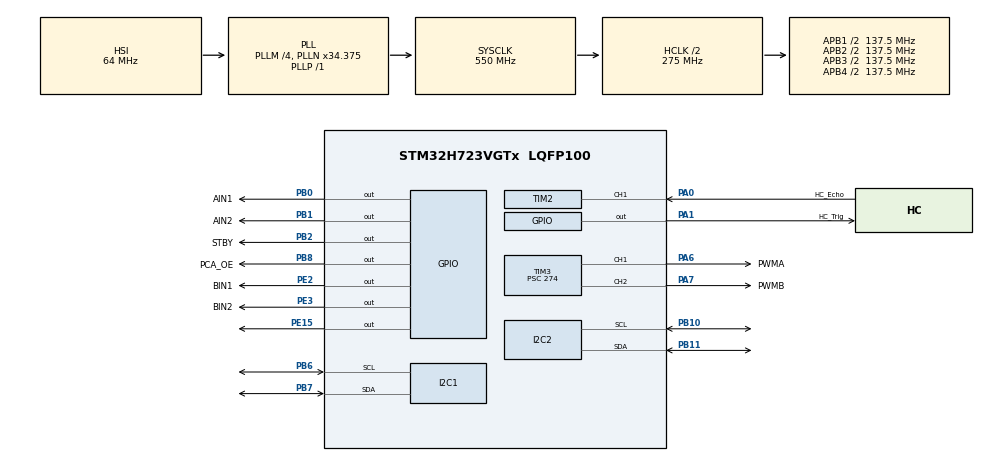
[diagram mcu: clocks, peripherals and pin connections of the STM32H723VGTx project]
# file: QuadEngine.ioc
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CORTEX_M7.default_mode_Activation=1
I2C1.Timing=0x60404E72
I2C2.Timing=0x60404E72
Mcu.Family=STM32H7
Mcu.Name=STM32H723VGTx
Mcu.Package=LQFP100
NVIC.PriorityGroup=NVIC_PRIORITYGROUP_4
PA0.GPIO_Label=HC_Echo
PA0.Signal=S_TIM2_CH1_ETR
PA1.GPIO_Label=HC_Trig
PA1.Signal=GPIO_Output
PA13(JTMS/SWDIO).Mode=Serial_Wire
PA13(JTMS/SWDIO).Signal=DEBUG_JTMS-SWDIO
PA14(JTCK/SWCLK).Mode=Serial_Wire
PA14(JTCK/SWCLK).Signal=DEBUG_JTCK-SWCLK
PA6.GPIO_Label=PWMA
PA6.Signal=S_TIM3_CH1
PA7.GPIO_Label=PWMB
PA7.Signal=S_TIM3_CH2
PB0.GPIO_Label=AIN1
PB0.Signal=GPIO_Output
PB1.GPIO_Label=AIN2
PB1.Signal=GPIO_Output
PB10.Mode=I2C
PB10.Signal=I2C2_SCL
PB11.Mode=I2C
PB11.Signal=I2C2_SDA
PB2.GPIO_Label=STBY
PB2.Signal=GPIO_Output
PB6.Mode=I2C
PB6.Signal=I2C1_SCL
PB7.Mode=I2C
PB7.Signal=I2C1_SDA
PB8.GPIO_Label=PCA_OE
PB8.PinState=GPIO_PIN_SET
PB8.Signal=GPIO_Output
PE15.Signal=GPIO_Output
PE2.GPIO_Label=BIN1
PE2.Signal=GPIO_Output
PE3.GPIO_Label=BIN2
PE3.Signal=GPIO_Output
PH0-OSC_IN.Mode=HSE-External-Oscillator
PH0-OSC_IN.Signal=RCC_OSC_IN
PH1-OSC_OUT.Mode=HSE-External-Oscillator
PH1-OSC_OUT.Signal=RCC_OSC_OUT
ProjectManager.HeapSize=0x200
ProjectManager.StackSize=0x400
ProjectManager.TargetToolchain=CMake
RCC.ADCFreq_Value=129000000
RCC.APB1Freq_Value=137500000
RCC.APB2Freq_Value=137500000
RCC.APB3Freq_Value=137500000
RCC.APB4Freq_Value=137500000
RCC.CortexFreq_Value=550000000
RCC.D1PPRE=RCC_APB3_DIV2
RCC.D2PPRE1=RCC_APB1_DIV2
RCC.D2PPRE2=RCC_APB2_DIV2
RCC.D3PPRE=RCC_APB4_DIV2
RCC.DIVM1=4
RCC.DIVN1=34
RCC.DIVP1=1
RCC.HCLKFreq_Value=275000000
RCC.HPRE=RCC_HCLK_DIV2
RCC.PLL2FRACN=0
RCC.PLL3FRACN=0
RCC.PLLFRACN=3072
RCC.SYSCLKFreq_VALUE=550000000
RCC.SYSCLKSource=RCC_SYSCLKSOURCE_PLLCLK
RCC.USBFreq_Value=275000000
SH.S_TIM2_CH1_ETR.0=TIM2_CH1,Input_Capture1_from_TI1
SH.S_TIM2_CH1_ETR.1=TIM2_CH1,TriggerSource_TI1FP1
SH.S_TIM3_CH1.0=TIM3_CH1,PWM Generation1 CH1
SH.S_TIM3_CH2.0=TIM3_CH2,PWM Generation2 CH2
TIM2.Channel-Input_Capture1_from_TI1=TIM_CHANNEL_1
TIM2.ICPolarity_CH1=TIM_INPUTCHANNELPOLARITY_BOTHEDGE
TIM2.Prescaler=274
TIM3.AutoReloadPreload=TIM_AUTORELOAD_PRELOAD_ENABLE
TIM3.Channel-PWM\ Generation1\ CH1=TIM_CHANNEL_1
TIM3.Channel-PWM\ Generation2\ CH2=TIM_CHANNEL_2
TIM3.OCMode_PWM-PWM\ Generation2\ CH2=TIM_OCMODE_PWM2
TIM3.Period=99
TIM3.Prescaler=274
TIM3.Pulse-PWM\ Generation1\ CH1=30
TIM3.Pulse-PWM\ Generation2\ CH2=30
VP_MEMORYMAP_VS_MEMORYMAP.Mode=CurAppReg
VP_TIM2_VS_ControllerModeReset.Mode=Reset Mode
board=custom

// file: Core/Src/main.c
/* USER CODE BEGIN Header */
/**
  ******************************************************************************
  * @file           : main.c
  * @brief          : Main program body
  ******************************************************************************
  * @attention
  *
  * Copyright (c) 2026 STMicroelectronics.
  * All rights reserved.
  *
  * This software is licensed under terms that can be found in the LICENSE file
  * in the root directory of this software component.
  * If no LICENSE file comes with this software, it is provided AS-IS.
  *
  ******************************************************************************
  */
/* USER CODE END Header */
#include "main.h"

/* USER CODE BEGIN PTD */
typedef struct
{
  uint8_t chanel;
  uint16_t phase;
  uint8_t is_moving;

  uint16_t max_steps;
  uint16_t min_steps;

  uint16_t current_steps;
  uint32_t last_move_time;
  uint8_t is_inverted;
  uint16_t trim;
} ServoTypeDef;
/* USER CODE END PTD */

/* USER CODE BEGIN PD */
#define PCA9685_ADDR 0x40
#define MODE1_ADDR 0x00
#define MODE2_ADDR 0x01
#define PRESCL_ADDR 0xFE
#define SERVO_MAX 512
#define SERVO_MIN 102
/* USER CODE END PD */

I2C_HandleTypeDef hi2c1;
I2C_HandleTypeDef hi2c2;

TIM_HandleTypeDef htim2;
TIM_HandleTypeDef htim3;

/* USER CODE BEGIN PV */
static const uint8_t step = (SERVO_MAX - SERVO_MIN) / 180;
/* USER CODE END PV */

void SystemClock_Config(void);
static void MPU_Config(void);
static void MX_GPIO_Init(void);
static void MX_I2C1_Init(void);
static void MX_I2C2_Init(void);
static void MX_TIM2_Init(void);
static void MX_TIM3_Init(void);
/* USER CODE BEGIN PFP */
void PCA9685_Init(void);
void PCA9685_Set_Servo_Pos(uint8_t channel, uint16_t angle_value, uint16_t phase_shift);
void PCA9685_Smooth_Move_To_Degree(ServoTypeDef* servo_type_def, uint8_t degree, uint8_t delay);
/* USER CODE END PFP */

/* USER CODE BEGIN 0 */
void PCA9685_Init(void)
{
  uint8_t sleep = 0x11;
  HAL_I2C_Mem_Write(&hi2c1,PCA9685_ADDR << 1,MODE1_ADDR,I2C_MEMADD_SIZE_8BIT,&sleep,sizeof(sleep),500);
  HAL_Delay(1);

  uint8_t prescaler = 0x79;
  HAL_I2C_Mem_Write(&hi2c1,PCA9685_ADDR << 1,PRESCL_ADDR,I2C_MEMADD_SIZE_8BIT,&prescaler,sizeof(prescaler),500);

  uint8_t autoincrement = 0x21;
  HAL_I2C_Mem_Write(&hi2c1,PCA9685_ADDR << 1,MODE1_ADDR,I2C_MEMADD_SIZE_8BIT,&autoincrement,sizeof(autoincrement),500);

  uint8_t totem_pole = 0x04;
  HAL_I2C_Mem_Write(&hi2c1,PCA9685_ADDR << 1,MODE2_ADDR,I2C_MEMADD_SIZE_8BIT,&totem_pole,sizeof(totem_pole),500);
}

void PCA9685_Set_Servo_Pos(const uint8_t channel, const uint16_t angle_value, const uint16_t phase_shift)
{
  const uint16_t off_value = (phase_shift + angle_value) % 4096;
  const uint8_t servo_addr = 0x06 + channel * 4;

  uint8_t data[4];
  data[0] = phase_shift & 0xFF;
  data[1] = phase_shift >> 8;
  data[2] = off_value & 0xFF;
  data[3] = off_value >> 8;

  HAL_I2C_Mem_Write(&hi2c1, PCA9685_ADDR << 1, servo_addr,I2C_MEMADD_SIZE_8BIT, data, sizeof(data), 500);
}

void PCA9685_Smooth_Move_To_Degree(ServoTypeDef* servo_type_def, const uint8_t degree,const uint8_t delay)
{
  static const uint8_t degree_180 = 180;
  uint16_t updated_degree;
  if (servo_type_def->is_inverted ==  1)
  {
    updated_degree = degree_180 - degree;
  } else
  {
    updated_degree = degree;
  }
  const uint32_t target_steps = (servo_type_def->min_steps +
      (updated_degree * (servo_type_def->max_steps - servo_type_def->min_steps) / degree_180)
    ) + servo_type_def->trim;

  if (target_steps > servo_type_def->max_steps || target_steps < servo_type_def->min_steps)
  {
    return;
  }

  const uint32_t now = HAL_GetTick();
  if ((now - servo_type_def->last_move_time) > delay)
  {
    int16_t direction = 0;
    if (servo_type_def->current_steps > target_steps)
    {
      direction = -1;
    } else if (servo_type_def->current_steps < target_steps)
    {
      direction = 1;
    }

    if (servo_type_def->current_steps != target_steps)
    {
      const uint16_t updated_step = servo_type_def->current_steps + direction;
      PCA9685_Set_Servo_Pos(servo_type_def->chanel, updated_step, servo_type_def->phase);

      servo_type_def->current_steps = updated_step;
      servo_type_def->is_moving = 1;
      servo_type_def->last_move_time = now;
    } else
    {
      servo_type_def->is_moving = 0;
    }
  }
}
/* USER CODE END 0 */

int main(void)
{

  /* MPU Configuration--------------------------------------------------------*/
  MPU_Config();

  /* MCU Configuration--------------------------------------------------------*/

  /* Reset of all peripherals, Initializes the Flash interface and the Systick. */
  HAL_Init();

  /* Configure the system clock */
  SystemClock_Config();

  /* Initialize all configured peripherals */
  MX_GPIO_Init();
  MX_I2C1_Init();
  MX_I2C2_Init();
  MX_TIM2_Init();
  MX_TIM3_Init();
  /* USER CODE BEGIN 2 */
  ServoTypeDef PCA9685_Servo_1 = {
    0,
    0,
    0,
    SERVO_MAX,
    SERVO_MIN,
    SERVO_MAX,
    HAL_GetTick(),
    1,
    0
  };

  ServoTypeDef PCA9685_Servo_2 = {
    1,
    0x400,
    0,
    SERVO_MAX,
    SERVO_MIN,
    SERVO_MIN,
    HAL_GetTick(),
    0,
    0
  };

  ServoTypeDef PCA9685_Servo_3 = {
    2,
    0x800,
    0,
    SERVO_MAX,
    SERVO_MIN,
    SERVO_MIN,
    HAL_GetTick(),
    0,
    0
  };

  ServoTypeDef PCA9685_Servo_4 = {
    3,
    0xC00,
    0,
    SERVO_MAX,
    SERVO_MIN,
    SERVO_MAX,
    HAL_GetTick(),
    1,
    0
  };
  PCA9685_Init();

  HAL_Delay(10);

  PCA9685_Set_Servo_Pos(0,SERVO_MAX + PCA9685_Servo_1.trim,0);
  PCA9685_Set_Servo_Pos(1,SERVO_MIN + PCA9685_Servo_2.trim,0x400);
  PCA9685_Set_Servo_Pos(2,SERVO_MIN + PCA9685_Servo_3.trim,0x800);
  PCA9685_Set_Servo_Pos(3,SERVO_MAX + PCA9685_Servo_4.trim,0xC00);

  /* USER CODE END 2 */

  /* Infinite loop */
  /* USER CODE BEGIN WHILE */

  // ReSharper disable once CppDFAEndlessLoop

  PCA9685_Servo_1.is_moving = 1;
  PCA9685_Servo_2.is_moving = 1;
  PCA9685_Servo_3.is_moving = 1;
  PCA9685_Servo_4.is_moving = 1;

  HAL_Delay(100);

  //HAL_GPIO_WritePin(PCA_OE_GPIO_Port, PCA_OE_Pin, GPIO_PIN_RESET);

  HAL_TIM_PWM_Start(&htim3,TIM_CHANNEL_1);
  HAL_TIM_PWM_Start(&htim3,TIM_CHANNEL_2);

  HAL_GPIO_WritePin(STBY_GPIO_Port, STBY_Pin, GPIO_PIN_SET);

  HAL_GPIO_WritePin(AIN1_GPIO_Port, AIN1_Pin, GPIO_PIN_SET);
  HAL_GPIO_WritePin(AIN2_GPIO_Port, AIN2_Pin, GPIO_PIN_RESET);

  HAL_GPIO_WritePin(BIN1_GPIO_Port, BIN1_Pin, GPIO_PIN_SET);
  HAL_GPIO_WritePin(BIN2_GPIO_Port, BIN2_Pin, GPIO_PIN_RESET);

  while (1)
  {
    // PCA9685_Smooth_Move_To_Degree(&PCA9685_Servo_1,  90, 30);
    // PCA9685_Smooth_Move_To_Degree(&PCA9685_Servo_2, 90, 30);
    // PCA9685_Smooth_Move_To_Degree(&PCA9685_Servo_3,  90, 30);
    // PCA9685_Smooth_Move_To_Degree(&PCA9685_Servo_4, 90, 30);
    /* USER CODE END WHILE */

  }
}

void SystemClock_Config(void)
{
  RCC_OscInitTypeDef RCC_OscInitStruct = {0};
  RCC_ClkInitTypeDef RCC_ClkInitStruct = {0};

  /** Supply configuration update enable
  */
  HAL_PWREx_ConfigSupply(PWR_LDO_SUPPLY);

  /** Configure the main internal regulator output voltage
  */
  __HAL_PWR_VOLTAGESCALING_CONFIG(PWR_REGULATOR_VOLTAGE_SCALE0);

  while(!__HAL_PWR_GET_FLAG(PWR_FLAG_VOSRDY)) {}

  /** Initializes the RCC Oscillators according to the specified parameters
  * in the RCC_OscInitTypeDef structure.
  */
  RCC_OscInitStruct.OscillatorType = RCC_OSCILLATORTYPE_HSI;
  RCC_OscInitStruct.HSIState = RCC_HSI_DIV1;
  RCC_OscInitStruct.HSICalibrationValue = 64;
  RCC_OscInitStruct.PLL.PLLState = RCC_PLL_ON;
  RCC_OscInitStruct.PLL.PLLSource = RCC_PLLSOURCE_HSI;
  RCC_OscInitStruct.PLL.PLLM = 4;
  RCC_OscInitStruct.PLL.PLLN = 34;
  RCC_OscInitStruct.PLL.PLLP = 1;
  RCC_OscInitStruct.PLL.PLLQ = 2;
  RCC_OscInitStruct.PLL.PLLR = 2;
  RCC_OscInitStruct.PLL.PLLRGE = RCC_PLL1VCIRANGE_3;
  RCC_OscInitStruct.PLL.PLLVCOSEL = RCC_PLL1VCOWIDE;
  RCC_OscInitStruct.PLL.PLLFRACN = 3072;
  if (HAL_RCC_OscConfig(&RCC_OscInitStruct) != HAL_OK)
  {
    Error_Handler();
  }

  /** Initializes the CPU, AHB and APB buses clocks
  */
  RCC_ClkInitStruct.ClockType = RCC_CLOCKTYPE_HCLK|RCC_CLOCKTYPE_SYSCLK
                              |RCC_CLOCKTYPE_PCLK1|RCC_CLOCKTYPE_PCLK2
                              |RCC_CLOCKTYPE_D3PCLK1|RCC_CLOCKTYPE_D1PCLK1;
  RCC_ClkInitStruct.SYSCLKSource = RCC_SYSCLKSOURCE_PLLCLK;
  RCC_ClkInitStruct.SYSCLKDivider = RCC_SYSCLK_DIV1;
  RCC_ClkInitStruct.AHBCLKDivider = RCC_HCLK_DIV2;
  RCC_ClkInitStruct.APB3CLKDivider = RCC_APB3_DIV2;
  RCC_ClkInitStruct.APB1CLKDivider = RCC_APB1_DIV2;
  RCC_ClkInitStruct.APB2CLKDivider = RCC_APB2_DIV2;
  RCC_ClkInitStruct.APB4CLKDivider = RCC_APB4_DIV2;

  if (HAL_RCC_ClockConfig(&RCC_ClkInitStruct, FLASH_LATENCY_3) != HAL_OK)
  {
    Error_Handler();
  }
}

static void MX_I2C1_Init(void)
{

  hi2c1.Instance = I2C1;
  hi2c1.Init.Timing = 0x60404E72;
  hi2c1.Init.OwnAddress1 = 0;
  hi2c1.Init.AddressingMode = I2C_ADDRESSINGMODE_7BIT;
  hi2c1.Init.DualAddressMode = I2C_DUALADDRESS_DISABLE;
  hi2c1.Init.OwnAddress2 = 0;
  hi2c1.Init.OwnAddress2Masks = I2C_OA2_NOMASK;
  hi2c1.Init.GeneralCallMode = I2C_GENERALCALL_DISABLE;
  hi2c1.Init.NoStretchMode = I2C_NOSTRETCH_DISABLE;
  if (HAL_I2C_Init(&hi2c1) != HAL_OK)
  {
    Error_Handler();
  }

  /** Configure Analogue filter
  */
  if (HAL_I2CEx_ConfigAnalogFilter(&hi2c1, I2C_ANALOGFILTER_ENABLE) != HAL_OK)
  {
    Error_Handler();
  }

  /** Configure Digital filter
  */
  if (HAL_I2CEx_ConfigDigitalFilter(&hi2c1, 0) != HAL_OK)
  {
    Error_Handler();
  }

}

static void MX_I2C2_Init(void)
{

  hi2c2.Instance = I2C2;
  hi2c2.Init.Timing = 0x60404E72;
  hi2c2.Init.OwnAddress1 = 0;
  hi2c2.Init.AddressingMode = I2C_ADDRESSINGMODE_7BIT;
  hi2c2.Init.DualAddressMode = I2C_DUALADDRESS_DISABLE;
  hi2c2.Init.OwnAddress2 = 0;
  hi2c2.Init.OwnAddress2Masks = I2C_OA2_NOMASK;
  hi2c2.Init.GeneralCallMode = I2C_GENERALCALL_DISABLE;
  hi2c2.Init.NoStretchMode = I2C_NOSTRETCH_DISABLE;
  if (HAL_I2C_Init(&hi2c2) != HAL_OK)
  {
    Error_Handler();
  }

  /** Configure Analogue filter
  */
  if (HAL_I2CEx_ConfigAnalogFilter(&hi2c2, I2C_ANALOGFILTER_ENABLE) != HAL_OK)
  {
    Error_Handler();
  }

  /** Configure Digital filter
  */
  if (HAL_I2CEx_ConfigDigitalFilter(&hi2c2, 0) != HAL_OK)
  {
    Error_Handler();
  }

}

static void MX_TIM2_Init(void)
{

  TIM_SlaveConfigTypeDef sSlaveConfig = {0};
  TIM_MasterConfigTypeDef sMasterConfig = {0};
  TIM_IC_InitTypeDef sConfigIC = {0};

  htim2.Instance = TIM2;
  htim2.Init.Prescaler = 274;
  htim2.Init.CounterMode = TIM_COUNTERMODE_UP;
  htim2.Init.Period = 4294967295;
  htim2.Init.ClockDivision = TIM_CLOCKDIVISION_DIV1;
  htim2.Init.AutoReloadPreload = TIM_AUTORELOAD_PRELOAD_DISABLE;
  if (HAL_TIM_Base_Init(&htim2) != HAL_OK)
  {
    Error_Handler();
  }
  if (HAL_TIM_IC_Init(&htim2) != HAL_OK)
  {
    Error_Handler();
  }
  sSlaveConfig.SlaveMode = TIM_SLAVEMODE_RESET;
  sSlaveConfig.InputTrigger = TIM_TS_TI1FP1;
  sSlaveConfig.TriggerPolarity = TIM_INPUTCHANNELPOLARITY_BOTHEDGE;
  sSlaveConfig.TriggerFilter = 0;
  if (HAL_TIM_SlaveConfigSynchro(&htim2, &sSlaveConfig) != HAL_OK)
  {
    Error_Handler();
  }
  sMasterConfig.MasterOutputTrigger = TIM_TRGO_RESET;
  sMasterConfig.MasterSlaveMode = TIM_MASTERSLAVEMODE_DISABLE;
  if (HAL_TIMEx_MasterConfigSynchronization(&htim2, &sMasterConfig) != HAL_OK)
  {
    Error_Handler();
  }
  sConfigIC.ICPolarity = TIM_INPUTCHANNELPOLARITY_BOTHEDGE;
  sConfigIC.ICSelection = TIM_ICSELECTION_DIRECTTI;
  sConfigIC.ICPrescaler = TIM_ICPSC_DIV1;
  sConfigIC.ICFilter = 0;
  if (HAL_TIM_IC_ConfigChannel(&htim2, &sConfigIC, TIM_CHANNEL_1) != HAL_OK)
  {
    Error_Handler();
  }

}

static void MX_TIM3_Init(void)
{

  TIM_MasterConfigTypeDef sMasterConfig = {0};
  TIM_OC_InitTypeDef sConfigOC = {0};

  htim3.Instance = TIM3;
  htim3.Init.Prescaler = 274;
  htim3.Init.CounterMode = TIM_COUNTERMODE_UP;
  htim3.Init.Period = 99;
  htim3.Init.ClockDivision = TIM_CLOCKDIVISION_DIV1;
  htim3.Init.AutoReloadPreload = TIM_AUTORELOAD_PRELOAD_ENABLE;
  if (HAL_TIM_PWM_Init(&htim3) != HAL_OK)
  {
    Error_Handler();
  }
  sMasterConfig.MasterOutputTrigger = TIM_TRGO_RESET;
  sMasterConfig.MasterSlaveMode = TIM_MASTERSLAVEMODE_DISABLE;
  if (HAL_TIMEx_MasterConfigSynchronization(&htim3, &sMasterConfig) != HAL_OK)
  {
    Error_Handler();
  }
  sConfigOC.OCMode = TIM_OCMODE_PWM1;
  sConfigOC.Pulse = 30;
  sConfigOC.OCPolarity = TIM_OCPOLARITY_HIGH;
  sConfigOC.OCFastMode = TIM_OCFAST_DISABLE;
  if (HAL_TIM_PWM_ConfigChannel(&htim3, &sConfigOC, TIM_CHANNEL_1) != HAL_OK)
  {
    Error_Handler();
  }
  sConfigOC.OCMode = TIM_OCMODE_PWM2;
  if (HAL_TIM_PWM_ConfigChannel(&htim3, &sConfigOC, TIM_CHANNEL_2) != HAL_OK)
  {
    Error_Handler();
  }
  HAL_TIM_MspPostInit(&htim3);

}

static void MX_GPIO_Init(void)
{
  GPIO_InitTypeDef GPIO_InitStruct = {0};

  /* GPIO Ports Clock Enable */
  __HAL_RCC_GPIOE_CLK_ENABLE();
  __HAL_RCC_GPIOH_CLK_ENABLE();
  __HAL_RCC_GPIOA_CLK_ENABLE();
  __HAL_RCC_GPIOB_CLK_ENABLE();

  /*Configure GPIO pin Output Level */
  HAL_GPIO_WritePin(GPIOE, BIN1_Pin|BIN2_Pin|GPIO_PIN_15, GPIO_PIN_RESET);

  /*Configure GPIO pin Output Level */
  HAL_GPIO_WritePin(HC_Trig_GPIO_Port, HC_Trig_Pin, GPIO_PIN_RESET);

  /*Configure GPIO pin Output Level */
  HAL_GPIO_WritePin(GPIOB, AIN1_Pin|AIN2_Pin|STBY_Pin, GPIO_PIN_RESET);

  /*Configure GPIO pin Output Level */
  HAL_GPIO_WritePin(PCA_OE_GPIO_Port, PCA_OE_Pin, GPIO_PIN_SET);

  /*Configure GPIO pins : BIN1_Pin BIN2_Pin PE15 */
  GPIO_InitStruct.Pin = BIN1_Pin|BIN2_Pin|GPIO_PIN_15;
  GPIO_InitStruct.Mode = GPIO_MODE_OUTPUT_PP;
  GPIO_InitStruct.Pull = GPIO_NOPULL;
  GPIO_InitStruct.Speed = GPIO_SPEED_FREQ_LOW;
  HAL_GPIO_Init(GPIOE, &GPIO_InitStruct);

  /*Configure GPIO pin : HC_Trig_Pin */
  GPIO_InitStruct.Pin = HC_Trig_Pin;
  GPIO_InitStruct.Mode = GPIO_MODE_OUTPUT_PP;
  GPIO_InitStruct.Pull = GPIO_NOPULL;
  GPIO_InitStruct.Speed = GPIO_SPEED_FREQ_LOW;
  HAL_GPIO_Init(HC_Trig_GPIO_Port, &GPIO_InitStruct);

  /*Configure GPIO pins : AIN1_Pin AIN2_Pin STBY_Pin PCA_OE_Pin */
  GPIO_InitStruct.Pin = AIN1_Pin|AIN2_Pin|STBY_Pin|PCA_OE_Pin;
  GPIO_InitStruct.Mode = GPIO_MODE_OUTPUT_PP;
  GPIO_InitStruct.Pull = GPIO_NOPULL;
  GPIO_InitStruct.Speed = GPIO_SPEED_FREQ_LOW;
  HAL_GPIO_Init(GPIOB, &GPIO_InitStruct);

  /*AnalogSwitch Config */
  HAL_SYSCFG_AnalogSwitchConfig(SYSCFG_SWITCH_PA1, SYSCFG_SWITCH_PA1_CLOSE);

}

 /* MPU Configuration */

void MPU_Config(void)
{
  MPU_Region_InitTypeDef MPU_InitStruct = {0};

  /* Disables the MPU */
  HAL_MPU_Disable();

  /** Initializes and configures the Region and the memory to be protected
  */
  MPU_InitStruct.Enable = MPU_REGION_ENABLE;
  MPU_InitStruct.Number = MPU_REGION_NUMBER0;
  MPU_InitStruct.BaseAddress = 0x0;
  MPU_InitStruct.Size = MPU_REGION_SIZE_4GB;
  MPU_InitStruct.SubRegionDisable = 0x87;
  MPU_InitStruct.TypeExtField = MPU_TEX_LEVEL0;
  MPU_InitStruct.AccessPermission = MPU_REGION_NO_ACCESS;
  MPU_InitStruct.DisableExec = MPU_INSTRUCTION_ACCESS_DISABLE;
  MPU_InitStruct.IsShareable = MPU_ACCESS_SHAREABLE;
  MPU_InitStruct.IsCacheable = MPU_ACCESS_NOT_CACHEABLE;
  MPU_InitStruct.IsBufferable = MPU_ACCESS_NOT_BUFFERABLE;

  HAL_MPU_ConfigRegion(&MPU_InitStruct);
  /* Enables the MPU */
  HAL_MPU_Enable(MPU_PRIVILEGED_DEFAULT);

}

void Error_Handler(void)
{
  __disable_irq();
  while (1)
  {
  }
}
